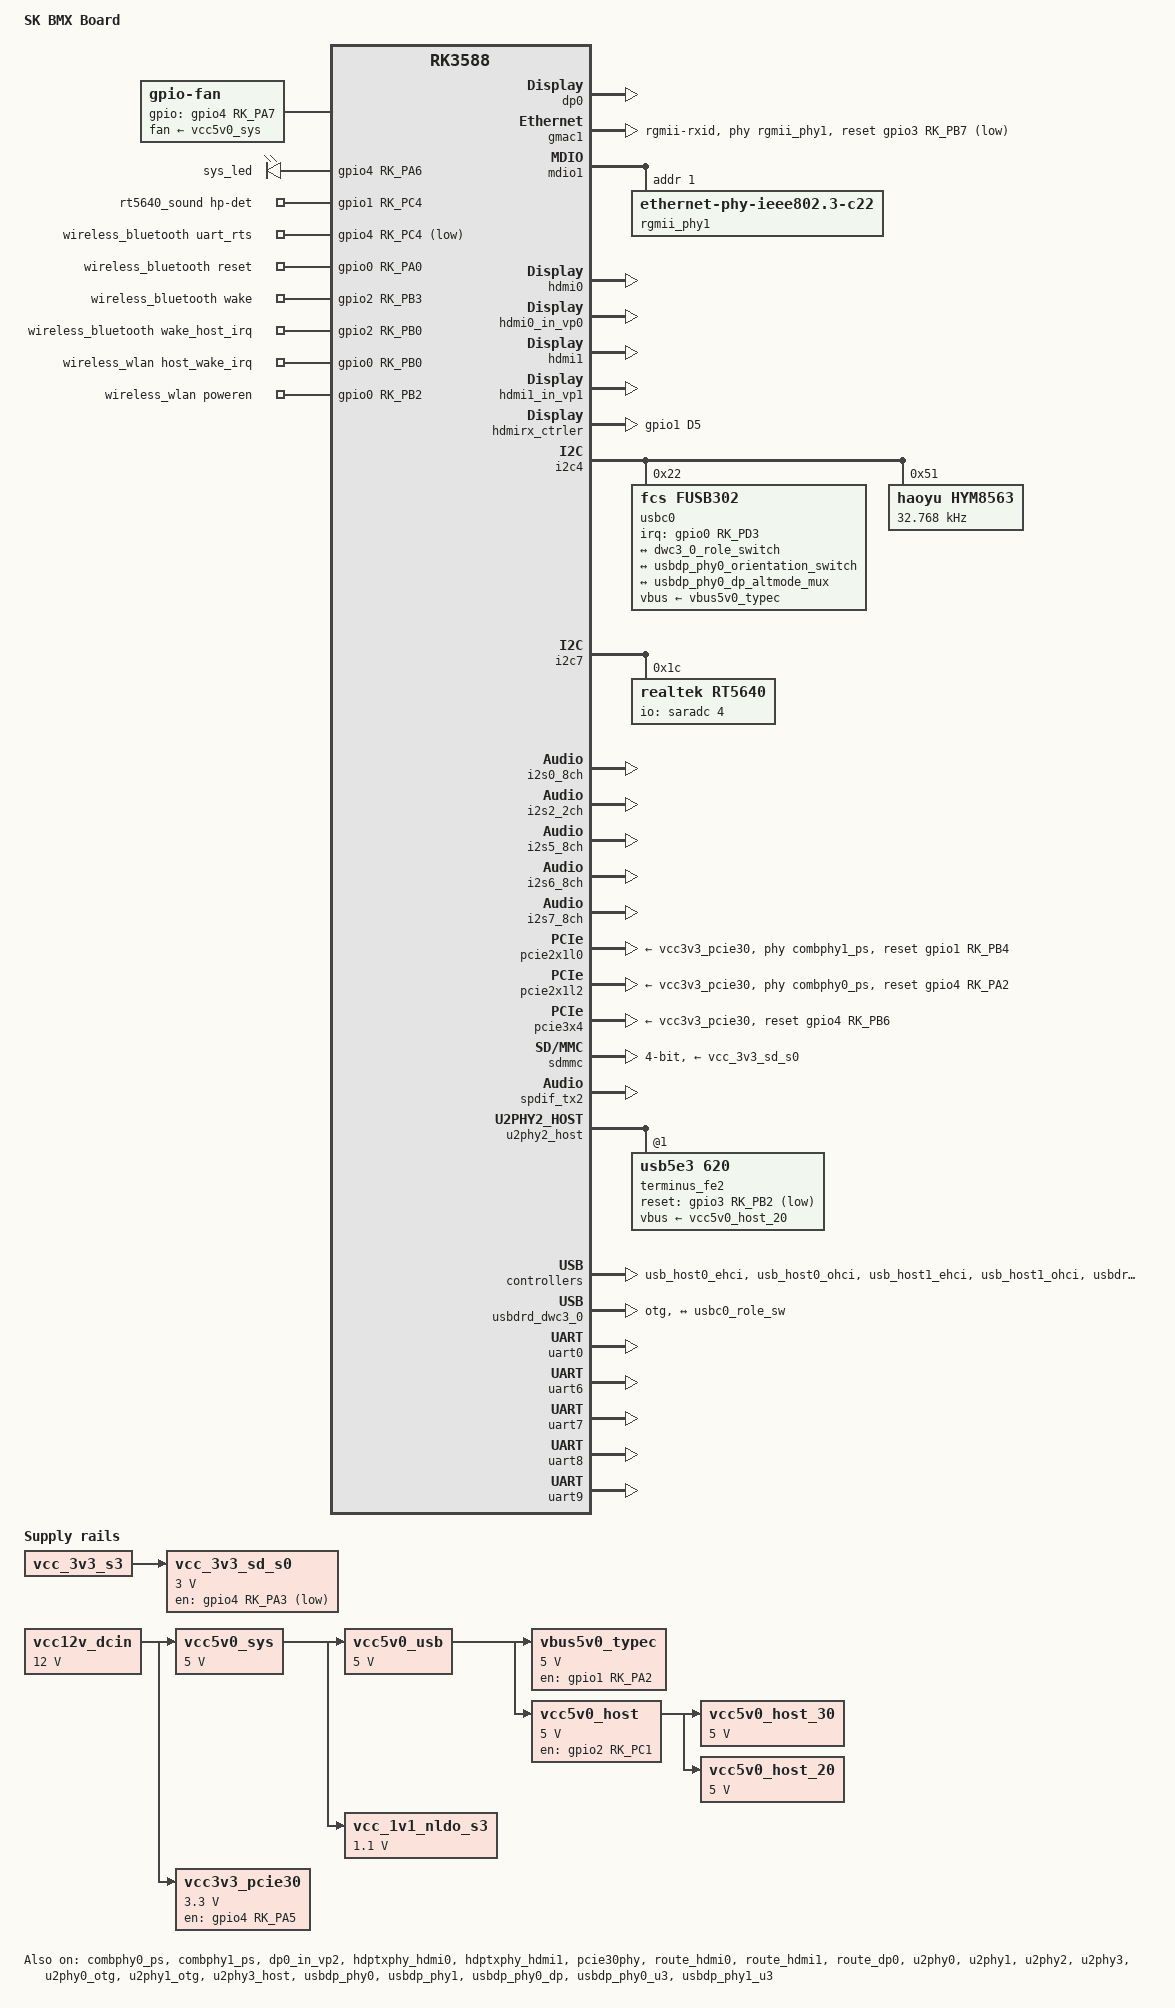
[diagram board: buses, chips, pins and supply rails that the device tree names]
// SPDX-License-Identifier: (GPL-2.0+ OR MIT)
/*
 * Copyright (c) 2025 Sergey Kharenko
 * Copyright (c) 2021 Rockchip Electronics Co., Ltd.
 */

 /dts-v1/;

#include <dt-bindings/gpio/gpio.h>
#include <dt-bindings/pinctrl/rockchip.h>
#include <dt-bindings/input/rk-input.h>
#include <dt-bindings/display/drm_mipi_dsi.h>
#include <dt-bindings/display/rockchip_vop.h>
#include <dt-bindings/sensor-dev.h>
#include <dt-bindings/usb/pd.h>
#include "rk3588-sk-bmx-core.dtsi"

/ {
    model = "SK BMX Board";
    compatible = "sk, bmx", "rockchip,rk3588";

    aliases {
		ethernet0 = &r8111_u10;
		ethernet1 = &gmac1;
		mmc0 = &sdhci;
		mmc1 = &sdmmc;
		mmc2 = &sdio;
	};

	/* If hdmirx node is disabled, delete the reserved-memory node here. */
	reserved-memory {
		#address-cells = <2>;
		#size-cells = <2>;
		ranges;

		/* Reserve 256MB memory for hdmirx-controller@fdee0000 */
		cma {
			compatible = "shared-dma-pool";
			reusable;
			reg = <0x0 (256 * 0x100000) 0x0 (256 * 0x100000)>;
			linux,cma-default;
		};
	};

	bt_sound: bt-sound {
        compatible = "simple-audio-card";
        simple-audio-card,format = "dsp_a";
        simple-audio-card,bitclock-inversion = <1>;
        simple-audio-card,mclk-fs = <256>;
        simple-audio-card,name = "rockchip,bt";
        simple-audio-card,cpu {
            sound-dai = <&i2s2_2ch>;
        };

        simple-audio-card,codec {
            sound-dai = <&bt_sco 1>;
        };
    };

    bt_sco: bt-sco {
        compatible = "delta,dfbmcs320";
        #sound-dai-cells = <1>;
        status = "okay";
    };

    fan: sys-fan {
		status = "okay";
		compatible = "gpio-fan";
		#cooling-cells = <2>;
		fan-supply = <&vcc5v0_sys>;
        gpio-fan,speed-map = <0 0>, <1 1>;
		gpios = <&gpio4 RK_PA7 GPIO_ACTIVE_HIGH>;
        pinctrl-names = "default";
		pinctrl-0 = <&sys_fan_pin>;
	};

	dp0_sound: dp0-sound {
		status = "okay";
		compatible = "rockchip,hdmi";
		rockchip,card-name= "rockchip-dp0";
		rockchip,mclk-fs = <512>;
		rockchip,cpu = <&spdif_tx2>;
		rockchip,codec = <&dp0 1>;
		rockchip,jack-det;
	};

	hdmi0_sound: hdmi0-sound {
        status = "okay";
		compatible = "rockchip,hdmi";
		rockchip,mclk-fs = <128>;
		rockchip,card-name = "rockchip-hdmi0";
		rockchip,cpu = <&i2s5_8ch>;
		rockchip,codec = <&hdmi0>;
	};
    
	hdmi1_sound: hdmi1-sound {
        status = "okay";
		compatible = "rockchip,hdmi";
		rockchip,mclk-fs = <128>;
		rockchip,card-name = "rockchip-hdmi1";
		rockchip,cpu = <&i2s6_8ch>;
		rockchip,codec = <&hdmi1>;
	};

	hdmiin_sound: hdmiin-sound {
        status = "okay";
		compatible = "rockchip,hdmi";
		rockchip,mclk-fs = <128>;
		rockchip,format = "i2s";
		rockchip,bitclock-master = <&hdmirx_ctrler>;
		rockchip,frame-master = <&hdmirx_ctrler>;
		rockchip,card-name = "rockchip-hdmiin";
		rockchip,cpu = <&i2s7_8ch>;
		rockchip,codec = <&hdmirx_ctrler 0>;
		rockchip,jack-det;
	};

    gpio_leds: gpio-leds {
        status = "okay";
		compatible = "gpio-leds";
		sys_led: led {
			gpios = <&gpio4 RK_PA6 GPIO_ACTIVE_HIGH>;
			label = "sys_led";
			linux,default-trigger = "heartbeat";
			pinctrl-names = "default";
			pinctrl-0 = <&sys_led_pin>;
		};
	};

    rt5640_sound: rt5640-sound {
		status = "okay";
		compatible = "simple-audio-card";
		pinctrl-names = "default";
		pinctrl-0 = <&hp_det>;

		simple-audio-card,name = "realtek,rt5640-codec";
		simple-audio-card,format = "i2s";
		simple-audio-card,mclk-fs = <256>;

		simple-audio-card,hp-det-gpio = <&gpio1 RK_PC4 GPIO_ACTIVE_HIGH>;
		simple-audio-card,hp-pin-name = "Headphone Jack";

		simple-audio-card,widgets =
			"Headphone", "Headphone Jack",
			"Line", "Line In Jack",
			"Microphone", "Microphone Jack",
			"Speaker", "Speaker Slot";

		simple-audio-card,routing =
			"Headphone Jack", "HPOL",
			"Headphone Jack", "HPOR",
			"Microphone Jack", "IN1P",
			"Microphone Jack", "IN1N",
			"Microphone Jack", "MICBIAS1",
			"Speaker Slot", "SPOLP",
			"Speaker Slot", "SPOLN",
			"Speaker Slot", "SPORP",
			"Speaker Slot", "SPORN",
			"Line In Jack", "IN2P",
			"Line In Jack", "IN2N";

		simple-audio-card,cpu {
			sound-dai = <&i2s0_8ch>;
		};
		simple-audio-card,codec {
			sound-dai = <&rt5640>;
		};
	};

	vcc12v_dcin: vcc12v-dcin {
		compatible = "regulator-fixed";
		regulator-name = "vcc12v_dcin";
		regulator-always-on;
		regulator-boot-on;
		regulator-min-microvolt = <12000000>;
		regulator-max-microvolt = <12000000>;
	};

	vcc5v0_sys: vcc5v0-sys {
		compatible = "regulator-fixed";
		regulator-name = "vcc5v0_sys";
		regulator-always-on;
		regulator-boot-on;
		regulator-min-microvolt = <5000000>;
		regulator-max-microvolt = <5000000>;
		vin-supply = <&vcc12v_dcin>;
	};

	vcc5v0_usb: vcc5v0-usb {
		compatible = "regulator-fixed";
		regulator-name = "vcc5v0_usb";
		regulator-always-on;
		regulator-boot-on;
		regulator-min-microvolt = <5000000>;
		regulator-max-microvolt = <5000000>;
		vin-supply = <&vcc5v0_sys>;
	};

	vcc_1v1_nldo_s3: vcc-1v1-nldo-s3 {
        compatible = "regulator-fixed";
        regulator-name = "vcc_1v1_nldo_s3";
        regulator-always-on;
        regulator-boot-on;
        regulator-min-microvolt = <1100000>;
        regulator-max-microvolt = <1100000>;
        vin-supply = <&vcc5v0_sys>;
    };

    vcc_3v3_sd_s0: vcc-3v3-sd-s0-regulator {
		compatible = "regulator-fixed";
		gpio = <&gpio4 RK_PA3 GPIO_ACTIVE_LOW>;
		pinctrl-names = "default";
		pinctrl-0 = <&sd_s0_pwr>;
		regulator-always-on;
		regulator-boot-on;
		regulator-max-microvolt = <3000000>;
		regulator-min-microvolt = <3000000>;
		regulator-name = "vcc_3v3_sd_s0";
		vin-supply = <&vcc_3v3_s3>;
	};

    vcc3v3_pcie30: vcc3v3-pcie30 {
		compatible = "regulator-fixed";
		regulator-name = "vcc3v3_pcie30";
		regulator-min-microvolt = <3300000>;
		regulator-max-microvolt = <3300000>;
		enable-active-high;
		gpios = <&gpio4 RK_PA5 GPIO_ACTIVE_HIGH>;
		startup-delay-us = <5000>;
		vin-supply = <&vcc12v_dcin>;
    };

	vbus5v0_typec: vbus5v0-typec {
		compatible = "regulator-fixed";
		enable-active-high;
		gpio = <&gpio1 RK_PA2 GPIO_ACTIVE_HIGH>;
		pinctrl-names = "default";
		pinctrl-0 = <&typec5v_pwren>;
		regulator-name = "vbus5v0_typec";
		regulator-min-microvolt = <5000000>;
		regulator-max-microvolt = <5000000>;
		vin-supply = <&vcc5v0_usb>;
	};

	vcc5v0_host_30: vcc5v0-host-30 {
		compatible = "regulator-fixed";
		regulator-always-on;
		regulator-boot-on;
		regulator-name = "vcc5v0_host_30";
		regulator-min-microvolt = <5000000>;
		regulator-max-microvolt = <5000000>;
		vin-supply = <&vcc5v0_host>;
	};

	vcc5v0_host_20: vcc5v0-host-20 {
		compatible = "regulator-fixed";
		regulator-always-on;
		regulator-boot-on;
		regulator-name = "vcc5v0_host_20";
		regulator-min-microvolt = <5000000>;
		regulator-max-microvolt = <5000000>;
		vin-supply = <&vcc5v0_host>;
	};

	vcc5v0_host: vcc5v0_host {
		compatible = "regulator-fixed";
		enable-active-high;
		gpio = <&gpio2 RK_PC1 GPIO_ACTIVE_HIGH>;
		pinctrl-names = "default";
		pinctrl-0 = <&vcc5v0_host_en>;
		regulator-name = "vcc5v0_host";
		regulator-min-microvolt = <5000000>;
		regulator-max-microvolt = <5000000>;
		vin-supply = <&vcc5v0_usb>;
	};

    wireless_bluetooth: wireless-bluetooth {
		compatible = "bluetooth-platdata";
		clocks = <&hym8563>;
		clock-names = "ext_clock";
		uart_rts_gpios = <&gpio4 RK_PC4 GPIO_ACTIVE_LOW>;
        pinctrl-names = "default", "rts_gpio";
        pinctrl-0 = <&uart9m0_rtsn>, <&bt_gpio>;
        pinctrl-1 = <&uart9_gpios>;
        BT,reset_gpio    = <&gpio0 RK_PA0 GPIO_ACTIVE_HIGH>;
        BT,wake_gpio     = <&gpio2 RK_PB3 GPIO_ACTIVE_HIGH>;
        BT,wake_host_irq = <&gpio2 RK_PB0 GPIO_ACTIVE_HIGH>;
		status = "okay";
	};

	wireless_wlan: wireless-wlan {
		compatible = "wlan-platdata";
		wifi_chip_type = "ap6275p";
		pinctrl-names = "default";
		pinctrl-0 = <&wifi_host_wake_irq>, <&wifi_poweren_gpio>;
        WIFI,host_wake_irq = <&gpio0 RK_PB0 GPIO_ACTIVE_HIGH>;
        WIFI,poweren_gpio = <&gpio0 RK_PB2 GPIO_ACTIVE_HIGH>;  
		status = "okay";
	};
};

&can0 {
	assigned-clocks = <&cru CLK_CAN0>;
    assigned-clock-rates = <200000000>;
	pinctrl-names = "default";
    pinctrl-0 = <&can0m0_pins>;
};

&can1 {
	assigned-clocks = <&cru CLK_CAN1>;
    assigned-clock-rates = <200000000>;
	pinctrl-names = "default";
    pinctrl-0 = <&can1m1_pins>;
};

&combphy0_ps { 
    status = "okay"; 
};

&combphy1_ps {
    status = "okay"; 
};

&dp0 {
    status = "okay";
};

&dp0_in_vp0 {
    status = "disabled";
};

&dp0_in_vp1 {
    status = "disabled";
};

&dp0_in_vp2 {
    status = "okay";
};

&gmac1 {
	/* Use rgmii-rxid mode to disable rx delay inside Soc */
	phy-mode = "rgmii-rxid";
	clock_in_out = "input";

	snps,reset-gpio = <&gpio3 RK_PB7 GPIO_ACTIVE_LOW>;
	snps,reset-active-low;
	/* Reset time is 20ms, 100ms for rtl8211f */
	snps,reset-delays-us = <0 20000 100000>;

	pinctrl-names = "default";
	pinctrl-0 = <&gmac1_miim
		    &gmac1_tx_bus2
		    &gmac1_rx_bus2
		    &gmac1_rgmii_clk
		    &gmac1_rgmii_bus
            &gmac1_clkinout
            &eth1_pins>;

	tx_delay = <0x44>;
	/* rx_delay = <0x4f>; */

	phy-handle = <&rgmii_phy1>;
	status = "okay";
};

&mdio1 {
	rgmii_phy1: phy@1 {
		compatible = "ethernet-phy-ieee802.3-c22";
		reg = <0x1>;
        clocks = <&cru REFCLKO25M_ETH1_OUT>;
	};
};

&hdmi0 {
	cec-enable = "true";
	enable-gpios = <&gpio2 RK_PB1 GPIO_ACTIVE_HIGH>;
	status = "okay";
};

&hdmi0_in_vp0 {
	status = "okay";
};

&hdmi0_in_vp1 {
	status = "disabled";
};

&hdmi0_in_vp2 {
	status = "disabled";
};

&hdmi1 {
	cec-enable = "true";
	enable-gpios = <&gpio2 RK_PB2 GPIO_ACTIVE_HIGH>;
	pinctrl-names = "default";
    pinctrl-0 = <&hdmim2_tx1_cec &hdmim0_tx1_hpd &hdmim2_tx1_scl &hdmim2_tx1_sda>;
	status = "okay";
};

&hdmi1_in_vp0 {
	status = "disabled";
};

&hdmi1_in_vp1 {
	status = "okay";
};

&hdmi1_in_vp2 {
	status = "disabled";
};

/* Should work with at least 128MB cma reserved above. */
&hdmirx_ctrler {
	status = "okay";
	#sound-dai-cells = <1>;
	edid-version = <3>;
	/* Effective level used to trigger HPD: 0-low, 1-high */
	hpd-trigger-level = <1>;
	hdmirx-det-gpios = <&gpio1 RK_PD5 GPIO_ACTIVE_LOW>;
	pinctrl-names = "default";
	pinctrl-0 = <&hdmim1_rx_cec &hdmim2_rx_hpdin &hdmim1_rx_scl &hdmim1_rx_sda &hdmirx_det>;
};

&hdptxphy_hdmi0 {
	status = "okay";
};

&hdptxphy_hdmi1 {
	status = "okay";
};

&i2c4 {
    status = "okay";
    pinctrl-names = "default";
    pinctrl-0 = <&i2c4m1_xfer>;

	usbc0: fusb302@22 {
        compatible = "fcs,fusb302";
        reg = <0x22>;
        interrupt-parent = <&gpio0>;
        interrupts = <RK_PD3 IRQ_TYPE_LEVEL_LOW>;
        pinctrl-names = "default";
        pinctrl-0 = <&usbc0_int>;
        vbus-supply = <&vbus5v0_typec>;
        status = "okay";

        ports {
            #address-cells = <1>;
            #size-cells = <0>;

            port@0 {
                reg = <0>;
                usbc0_role_sw: endpoint@0 {
                    remote-endpoint = <&dwc3_0_role_switch>;
                };
            };
        };

        usb_con: connector {
            compatible = "usb-c-connector";
            label = "USB-C";
            data-role = "dual";
            power-role = "dual";
            try-power-role = "sink";
            op-sink-microwatt = <1000000>;
            sink-pdos =
                <PDO_FIXED(5000, 1000, PDO_FIXED_USB_COMM)>;
            source-pdos =
                <PDO_FIXED(5000, 3000, PDO_FIXED_USB_COMM)>;

            altmodes {
                #address-cells = <1>;
                #size-cells = <0>;

                altmode@0 {
                    reg = <0>;
                    svid = <0xff01>;
                    vdo = <0xffffffff>;
                };
            };

            ports {
                #address-cells = <1>;
                #size-cells = <0>;

                port@0 {
                    reg = <0>;
                    usbc0_orien_sw: endpoint {
                        remote-endpoint = <&usbdp_phy0_orientation_switch>;
                    };
                };

                port@1 {
                    reg = <1>;
                    dp_altmode_mux: endpoint {
                        remote-endpoint = <&usbdp_phy0_dp_altmode_mux>;
                    };
                };
            };
        };
    };

    hym8563: hym8563@51 {
        compatible = "haoyu,hym8563";
        reg = <0x51>;
        #clock-cells = <0>;
        clock-frequency = <32768>;
        clock-output-names = "hym8563";
    };
};

dsi_i2c: &i2c6 {
	pinctrl-0 = <&i2c6m0_xfer>;
};

&i2c7 {
    status = "okay";
    pinctrl-names = "default";
    pinctrl-0 = <&i2c7m0_xfer>;

    rt5640: rt5640@1c {
		status = "okay";
        #sound-dai-cells = <0>;
        compatible = "realtek,rt5640";
        reg = <0x1c>;
        clocks = <&mclkout_i2s0>;
        clock-names = "mclk";
        realtek,in1-differential;
        pinctrl-names = "default";
        pinctrl-0 = <&i2s0_mclk>;
        io-channels = <&saradc 4>;
        hp-det-adc-value = <500>;
    
		spk-play-volume = <7>;
		hp-play-volume = <15>;
		capture-volume = <127>;
    };
};

&i2s0_8ch {
	status = "okay";
	pinctrl-0 = <&i2s0_lrck
		     &i2s0_sclk
		     &i2s0_sdi0
		     &i2s0_sdo0>;
	rockchip,trcm-sync-tx-only;
};

&i2s2_2ch {
    status = "okay";
	pinctrl-names = "default", "idle", "clk";
	pinctrl-0 = <&i2s2m0_sdi
				&i2s2m0_sdo>;
	pinctrl-1 = <&i2s2m0_idle>;
	pinctrl-2 = <&i2s2m0_lrck
				&i2s2m0_sclk>;
};

&i2s5_8ch {
	status = "okay";
};

&i2s6_8ch {
	status = "okay";
};

&i2s7_8ch {
	status = "okay";
};

&pcie2x1l0 {
    status = "okay";    
    phys = <&combphy1_ps PHY_TYPE_PCIE>;
    reset-gpios = <&gpio1 RK_PB4 GPIO_ACTIVE_HIGH>;
    vpcie3v3-supply = <&vcc3v3_pcie30>;
};

&pcie2x1l2 {
    status = "okay";
    phys = <&combphy0_ps PHY_TYPE_PCIE>;
    vpcie3v3-supply = <&vcc3v3_pcie30>;
    reset-gpios = <&gpio4 RK_PA2 GPIO_ACTIVE_HIGH>;

    pcie@0,0 {
		reg = <0x00400000 0 0 0 0>;
		#address-cells = <3>;
		#size-cells = <2>;

		r8111_u10: pcie@40,0 {
			reg = <0x000000 0 0 0 0>;
			local-mac-address = [ 20 01 04 04 04 06 ];
		};
	};
};

&pcie30phy {
	status = "okay";
};

&pcie3x4 {
    status = "okay";
    supports-clkreq;
	pinctrl-names = "default";
	pinctrl-0 = <&pcie30x4m1_pins>;
	reset-gpios = <&gpio4 RK_PB6 GPIO_ACTIVE_HIGH>;
	vpcie3v3-supply = <&vcc3v3_pcie30>;
};

&pinctrl {
    gpio-fan {
        sys_fan_pin: sys-fan-pin {
			rockchip,pins = <4 RK_PA7 RK_FUNC_GPIO &pcfg_pull_none>;
		};
    };

    gpio-leds {
		sys_led_pin: sys-led-pin {
			rockchip,pins = <4 RK_PA6 RK_FUNC_GPIO &pcfg_pull_none>;
		};
	};
    
	headphone {
		hp_det: hp-det {
			rockchip,pins = <1 RK_PC4 RK_FUNC_GPIO &pcfg_pull_none>;
		};
	};

	hdmi {
		hdmirx_det: hdmirx-det {
			rockchip,pins = <1 RK_PD5 RK_FUNC_GPIO &pcfg_pull_up>;
		};
	};

	lcd {
		/omit-if-no-ref/
		lcd_rst_gpio: lcd-rst-gpio {
			rockchip,pins = <4 RK_PC6 RK_FUNC_GPIO &pcfg_pull_none>;
		};

		/omit-if-no-ref/
		lcd_en_gpio: lcd-en-gpio {
			rockchip,pins = <4 RK_PC2 RK_FUNC_GPIO &pcfg_pull_none>;
		};

		/omit-if-no-ref/
		touch_dsi_gpio: touch-dsi-gpio {
			rockchip,pins =
				<3 RK_PD0 RK_FUNC_GPIO &pcfg_pull_up>,
				<0 RK_PC6 RK_FUNC_GPIO &pcfg_pull_none>;
		};
	};

	sdmmc {
		sd_s0_pwr: sd-s0-pwr {
			rockchip,pins = <4 RK_PA3 RK_FUNC_GPIO &pcfg_pull_down>;
		};
	};

	usb {
		vcc5v0_host_en: vcc5v0-host-en {
			rockchip,pins = <2 RK_PC1 RK_FUNC_GPIO &pcfg_pull_none>;
		};

		hub_rst_gpio: hub-rst-gpio {
			rockchip,pins = <3 RK_PB2 RK_FUNC_GPIO &pcfg_pull_none>;
		};
	};

	usb-typec {
		usbc0_int: usbc0-int {
				rockchip,pins = <0 RK_PD3 RK_FUNC_GPIO &pcfg_pull_up>;
		};

		typec5v_pwren: typec5v-pwren {
				rockchip,pins = <1 RK_PA2 RK_FUNC_GPIO &pcfg_pull_none>;
		};
	};

    wireless-bluetooth {
		uart9_gpios: uart9-gpios {
			rockchip,pins = <4 RK_PC4 RK_FUNC_GPIO &pcfg_pull_none>;
		};

        bt_gpio: bt-gpio {
                rockchip,pins =
                        <0 RK_PA0 RK_FUNC_GPIO &pcfg_pull_none>,
                        <2 RK_PB3 RK_FUNC_GPIO &pcfg_pull_up>,
                        <2 RK_PB0 RK_FUNC_GPIO &pcfg_pull_down>;
        };
    };

    wireless-wlan {
        wifi_host_wake_irq: wifi-host-wake-irq {
                rockchip,pins = <0 RK_PB0 RK_FUNC_GPIO &pcfg_pull_down>;
        };

        wifi_poweren_gpio: wifi-poweren-gpio {
                rockchip,pins = <0 RK_PB2 RK_FUNC_GPIO &pcfg_pull_up>;
        };
    };
};

dsi_pwm: &pwm1 {
    pinctrl-0 = <&pwm1m1_pins>;
};

&route_hdmi0 {
    status = "okay";
};

&route_hdmi1 {
    status = "okay";
};

&route_dp0 {
    status = "okay";
	connect = <&vp2_out_dp0>;
};

&sdmmc {
    status = "okay";
	max-frequency = <200000000>;
	no-sdio;
	no-mmc;
	bus-width = <4>;
	cap-mmc-highspeed;
	cap-sd-highspeed;
	disable-wp;
	sd-uhs-sdr104;
	vmmc-supply = <&vcc_3v3_sd_s0>;
	vqmmc-supply = <&vccio_sd_s0>;
	pinctrl-names = "default";
	pinctrl-0 = <&sdmmc_bus4 &sdmmc_clk &sdmmc_cmd &sdmmc_det>;
};

&soc_thermal {
	trips {
		fan_threshold: fan-point {
			temperature = <45000>;
			hysteresis = <5000>;
			type = "passive";
		};
	};
	cooling-maps {
		map0 {
			trip = <&fan_threshold>;
			cooling-device = <&fan 1 1>;
			contribution = <2048>;
		};
		map1 {
			trip = <&fan_threshold>;
			cooling-device = <&fan 1 1>;
			contribution = <2048>;
		};
		map2 {
			trip = <&fan_threshold>;
			cooling-device = <&fan 1 1>;
			contribution = <2048>;
		};
		map3 {
			trip = <&fan_threshold>;
			cooling-device = <&fan 1 1>;
			contribution = <2048>;
		};
	};
};

&spdif_tx2 {
	status = "okay";
};


&u2phy0 {
	status = "okay";
};

&u2phy1 {
	status = "okay";
};

&u2phy2 {
	status = "okay";
};

&u2phy3 {
	status = "okay";
};

&u2phy0_otg {
	status = "okay";
};

&u2phy1_otg {
	status = "okay";
	phy-supply = <&vcc5v0_host_30>;
};

&u2phy2_host {
	status = "okay";
	terminus_fe2: hub@1 {
        compatible = "usb5e3,620";
        reg = <1>;
        vbus-supply = <&vcc5v0_host_20>;
        reset-gpios = <&gpio3 RK_PB2 GPIO_ACTIVE_LOW>;
		pinctrl-names = "default";
        pinctrl-0 = <&hub_rst_gpio>;

        usb_5g: port@1 {
            reg = <1>; 
            #address-cells = <1>;
            #size-cells = <0>;
		};

		usb_fp1: port@2 {
            reg = <2>;
            #address-cells = <1>;
            #size-cells = <0>;
		};

		usb_fp2: port@3 {
            reg = <3>;
            #address-cells = <1>;
            #size-cells = <0>;
		};

		usb_j39: port@4 {
            reg = <4>;
            #address-cells = <1>;
            #size-cells = <0>;
		};

		usb_fp3: port@5 {
            reg = <5>;
            #address-cells = <1>;
            #size-cells = <0>;
		};

		usb_fp4: port@6 {
            reg = <6>;
            #address-cells = <1>;
            #size-cells = <0>;
		};

		usb_j40: port@7 {
            reg = <7>;
            #address-cells = <1>;
            #size-cells = <0>;
		};
    };
};

&u2phy3_host {
	status = "okay";
	phy-supply = <&vcc5v0_host_20>;
};

&usb_host0_ehci {
	status = "okay";
};

&usb_host0_ohci {
	status = "okay";
};

&usb_host1_ehci {
	status = "okay";
};

&usb_host1_ohci {
	status = "okay";
};

&usbdp_phy0 {
	status = "okay";
	orientation-switch;
    svid = <0xff01>;
    sbu1-dc-gpios = <&gpio3 RK_PD4 GPIO_ACTIVE_HIGH>;
    sbu2-dc-gpios = <&gpio3 RK_PD5 GPIO_ACTIVE_HIGH>;

    port {
        #address-cells = <1>;
        #size-cells = <0>;
        usbdp_phy0_orientation_switch: endpoint@0 {
            reg = <0>;
            remote-endpoint = <&usbc0_orien_sw>;
        };

        usbdp_phy0_dp_altmode_mux: endpoint@1 {
            reg = <1>;
            remote-endpoint = <&dp_altmode_mux>;
        };
    };
};

&usbdp_phy1 {
	status = "okay";
};

&usbdp_phy0_dp {
	status = "okay";
};

&usbdp_phy0_u3 {
	status = "okay";
};

&usbdp_phy1_u3 {
	status = "okay";
};

&usbdrd3_0 {
	status = "okay";
};

&usbdrd3_1 {
	status = "okay";
};

&usbdrd_dwc3_0 {
	status = "okay";
	dr_mode = "otg";
	extcon = <&u2phy0>;
    usb-role-switch;
    port {
        #address-cells = <1>;
        #size-cells = <0>;
        dwc3_0_role_switch: endpoint@0 {
            reg = <0>;
            remote-endpoint = <&usbc0_role_sw>;
        };
    };
};

&usbdrd_dwc3_1 {
	status = "okay";
};

&uart0 {
    status = "okay";
    pinctrl-0 = <&uart0m0_xfer>;
};

&uart6 {
    status = "okay";
    pinctrl-0 = <&uart6m0_xfer>;
};

&uart7 {
    status = "okay";
    pinctrl-0 = <&uart7m1_xfer>;
};

&uart8 {
    status = "okay";
    pinctrl-0 = <&uart8m0_xfer>;
};

&uart9 {
    status = "okay";
	pinctrl-names = "default";
    pinctrl-0 = <&uart9m0_xfer &uart9m0_ctsn>;
};

&display_subsystem {
	clocks = <&hdptxphy_hdmi0>, <&hdptxphy_hdmi1>;
	clock-names = "hdmi0_phy_pll", "hdmi1_phy_pll";
};
